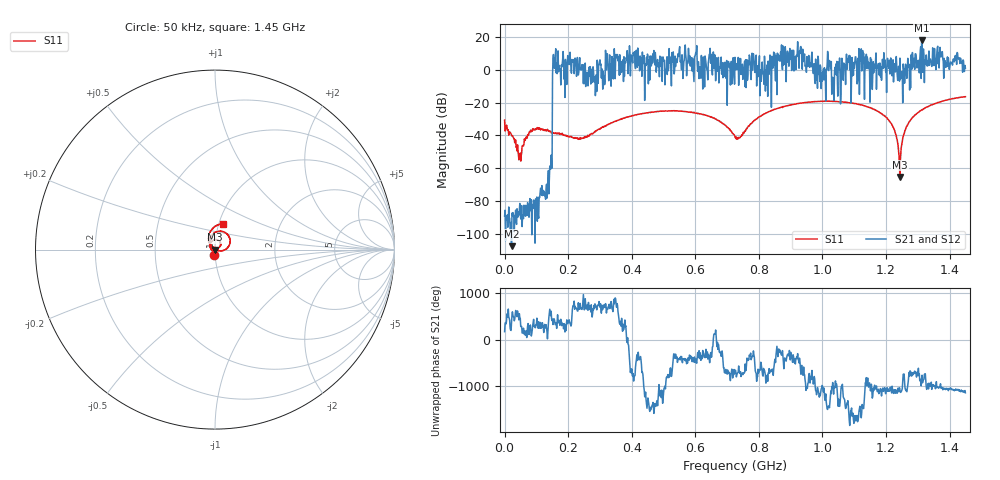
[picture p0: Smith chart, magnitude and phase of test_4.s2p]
! Created with skrf 1.11.0 (http://scikit-rf.org).
# Hz S RI R 50.0
!freq ReS11 ImS11 ReS21 ImS21 ReS12 ImS12 ReS22 ImS22
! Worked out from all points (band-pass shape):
!   1001 points, 50 kHz to 1.45 GHz, reference 50 ohm
!   highest |S21| = 18.02 dB at 1.312 GHz (marker M1); lowest = -107.7 dB at 21.8 MHz (marker M2)
!   |S21| within 3 dB of the highest: 568.3068 MHz to 568.4908 MHz (184.1 kHz wide, 0.0324 % of centre); 871.4199 MHz to 871.5037 MHz (83.85 kHz wide, 0.00962 % of centre) (the widest 2 of 4)
!   lowest |S11| = -65.3 dB at 1.244 GHz (marker M3), VSWR 1.00, Z = 49.9 - j0.004 ohm
!   |S11| at or under -10 dB: start of sweep to end of sweep
!   |S22| runs from - to - dB; largest |S21 - S12| = 0
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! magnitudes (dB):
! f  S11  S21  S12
! 50 kHz  -30.7  -89.2  -89.2
! 21.8 MHz  -39.9  -107.7  -107.7
! 46.45 MHz  -53.0  -85.8  -85.8
! 84.15 MHz  -37.8  -79.3  -79.3
! 127.6 MHz  -36.8  -76.9  -76.9
! 142.1 MHz  -37.4  -59.0  -59.0
! 158.1 MHz  -38.8  6.8  6.8
! 242.2 MHz  -41.8  1.2  1.2
! 282.8 MHz  -38.1  -5.0  -5.0
! 352.4 MHz  -31.0  8.5  8.5
! 484.3 MHz  -25.4  4.1  4.1
! 725 MHz  -40.9  7.7  7.7
! 967.2 MHz  -19.5  10.9  10.9
! 1.003 GHz  -19.1  0.4  0.4
! 1.021 GHz  -19.1  3.0  3.0
! 1.037 GHz  -19.2  -18.7  -18.7
! 1.082 GHz  -20.0  4.8  4.8
! 1.209 GHz  -31.0  0.9  0.9
! 1.244 GHz  -65.3  7.2  7.2
! 1.267 GHz  -33.7  1.0  1.0
! 1.312 GHz  -24.6  18.0  18.0
! 1.45 GHz  -16.3  1.1  1.1
